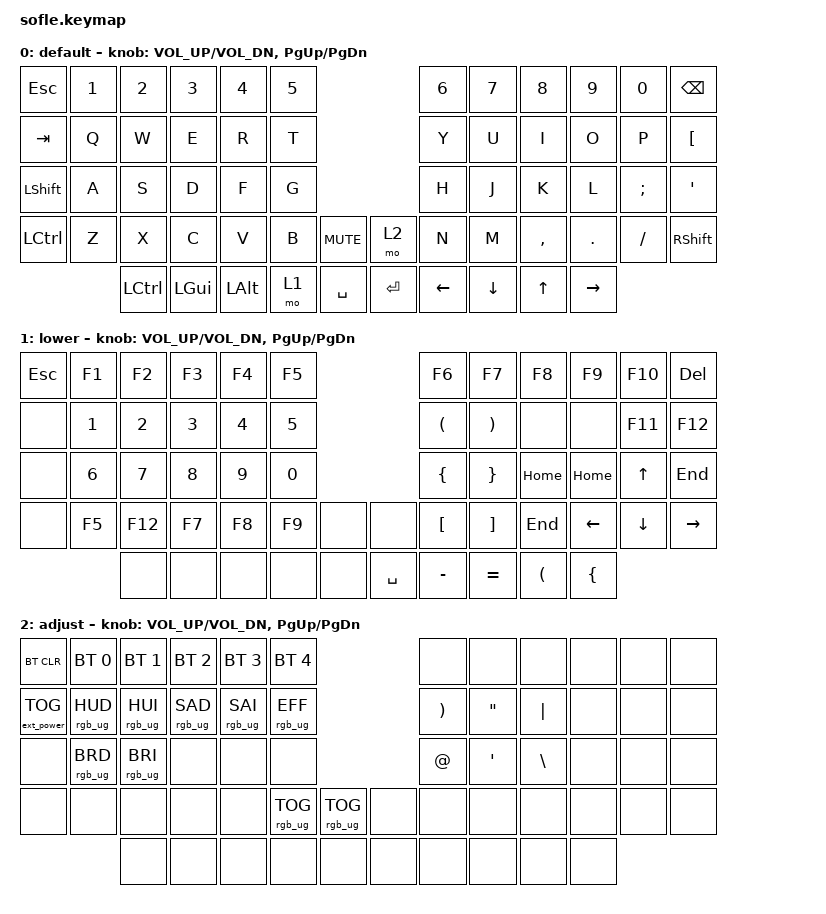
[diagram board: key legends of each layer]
/*
 * Copyright (c) 2020 The ZMK Contributors
 *
 * SPDX-License-Identifier: MIT
 */

#include <behaviors.dtsi>
#include <dt-bindings/zmk/bt.h>
#include <dt-bindings/zmk/ext_power.h>
#include <dt-bindings/zmk/keys.h>
#include <dt-bindings/zmk/rgb.h>

/ {
    keymap {
        compatible = "zmk,keymap";

        default_layer {
            display-name = "default";

            // ------------------------------------------------------------------------------------------------------------
            // |   `   |  1  |  2  |  3   |  4   |  5   |                   |  6   |  7    |  8    |  9   |   0   |       |
            // |  ESC  |  Q  |  W  |  E   |  R   |  T   |                   |  Y   |  U    |  I    |  O   |   P   | BKSPC |
            // |  TAB  |  A  |  S  |  D   |  F   |  G   |                   |  H   |  J    |  K    |  L   |   ;   |   '   |
            // | SHIFT |  Z  |  X  |  C   |  V   |  B   |  MUTE  |  |  MUTE |  N   |  M    |  ,    |  .   |   /   | SHIFT |
            //               | GUI | ALT  | CTRL | LOWER|  ENTER |  | SPACE | RAISE| CTRL  | ALT   | GUI  |

            bindings = <
&kp ESC    &kp N1  &kp N2            &kp N3        &kp N4    &kp N5                         &kp N6          &kp N7          &kp N8        &kp N9     &kp N0    &kp BACKSPACE
&kp TAB    &kp Q   &kp W             &kp E         &kp R     &kp T                          &kp Y           &kp U           &kp I         &kp O      &kp P     &kp LEFT_BRACKET
&kp LSHFT  &kp A   &kp S             &kp D         &kp F     &kp G                          &kp H           &kp J           &kp K         &kp L      &kp SEMI  &kp SQT
&kp LCTRL  &kp Z   &kp X             &kp C         &kp V     &kp B   &kp C_MUTE    &mo 2    &kp N           &kp M           &kp COMMA     &kp DOT    &kp FSLH  &kp RSHFT
                   &kp LEFT_CONTROL  &kp LEFT_GUI  &kp LALT  &mo 1   &kp SPACE     &kp RET  &kp LEFT_ARROW  &kp DOWN_ARROW  &kp UP_ARROW  &kp RIGHT
            >;

            sensor-bindings = <&inc_dec_kp C_VOL_UP C_VOL_DN &inc_dec_kp PG_UP PG_DN>;
        };

        lower_layer {
            bindings = <
&kp ESC  &kp F1  &kp F2   &kp F3  &kp F4  &kp F5                      &kp F6                &kp F7                 &kp F8                &kp F9          &kp F10   &kp DEL
&none    &kp N1  &kp N2   &kp N3  &kp N4  &kp N5                      &kp LEFT_PARENTHESIS  &kp RIGHT_PARENTHESIS  &none                 &none           &kp F11   &kp F12
&none    &kp N6  &kp N7   &kp N8  &kp N9  &kp N0                      &kp LEFT_BRACE        &kp RIGHT_BRACE        &kp HOME              &kp HOME        &kp UP    &kp END
&none    &kp F5  &kp F12  &kp F7  &kp F8  &kp F9  &none    &none      &kp LBKT              &kp RBKT               &kp END               &kp LEFT        &kp DOWN  &kp RIGHT
                 &none    &none   &none   &none   &none    &kp SPACE  &kp MINUS             &kp EQUAL              &kp LEFT_PARENTHESIS  &kp LEFT_BRACE
            >;

            sensor-bindings =
                <&inc_dec_kp C_VOLUME_UP C_VOL_DN>,
                <&inc_dec_kp PG_UP PG_DN>;

            label = "lower";
        };

        adjust_layer {
            // ----------------------------------------------------------------------------------------------------------------------------
            // | BTCLR  |  BT1    |  BT2    |   BT3   |   BT4   |   BT5   |                  |      |      |       |      |       |       |
            // | EXTPWR | RGB_HUD | RGB_HUI | RGB_SAD | RGB_SAI | RGB_EFF |                  |      |      |       |      |       |       |
            // |        | RGB_BRD | RGB_BRI |         |         |         |                  |      |      |       |      |       |       |
            // |        |         |         |         |         |         | RGB_TOG | |      |      |      |       |      |       |       |
            //                    |         |         |         |         |         | |      |      |      |       |      |

            display-name = "adjust";
            bindings = <
&bt BT_CLR         &bt BT_SEL 0     &bt BT_SEL 1     &bt BT_SEL 2     &bt BT_SEL 3     &bt BT_SEL 4                               &none                  &none              &none     &none  &none  &none
&ext_power EP_TOG  &rgb_ug RGB_HUD  &rgb_ug RGB_HUI  &rgb_ug RGB_SAD  &rgb_ug RGB_SAI  &rgb_ug RGB_EFF                            &kp RIGHT_PARENTHESIS  &kp DOUBLE_QUOTES  &kp PIPE  &none  &none  &none
&none              &rgb_ug RGB_BRD  &rgb_ug RGB_BRI  &none            &none            &none                                      &kp AT                 &kp SINGLE_QUOTE   &kp BSLH  &none  &none  &none
&none              &none            &none            &none            &none            &rgb_ug RGB_TOG  &rgb_ug RGB_TOG    &none  &none                  &none              &none     &none  &none  &none
                                    &none            &none            &none            &none            &none              &none  &none                  &none              &none     &none
            >;

            sensor-bindings =
                <&inc_dec_kp C_VOL_UP C_VOL_DN>,
                <&inc_dec_kp PG_UP PG_DN>;
        };
    };

    conditional_layers {
        compatible = "zmk,conditional-layers";

        a3rdLayer {
            if-layers = <2 2>;
            then-layer = <2>;
        };
    };
};
